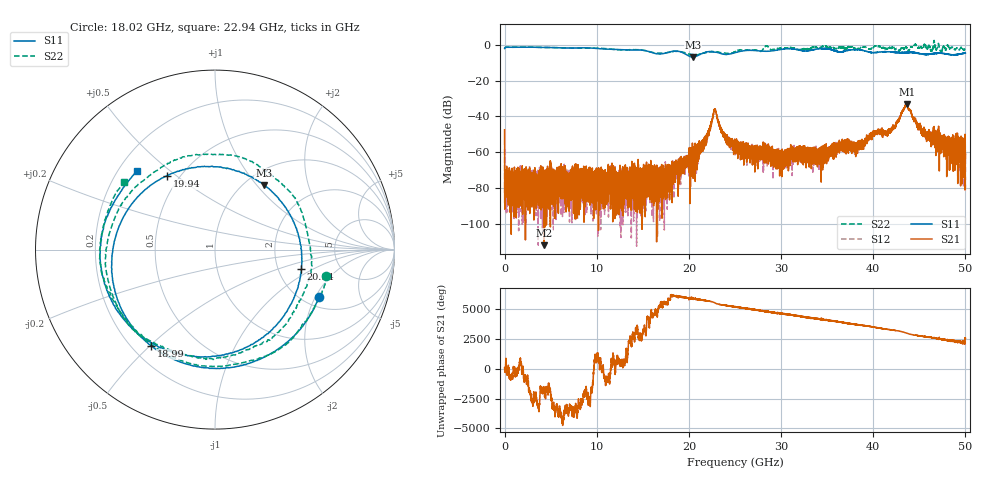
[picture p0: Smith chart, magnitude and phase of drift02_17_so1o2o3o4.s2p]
!Created with skrf (http://scikit-rf.org).
# Hz S RI R 50.0
!freq ReS11 ImS11 ReS21 ImS21 ReS12 ImS12 ReS22 ImS22
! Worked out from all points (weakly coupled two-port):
!   10001 points, 300 kHz to 50 GHz, reference 50 ohm
!   highest |S21| = -33.10 dB at 43.64 GHz (marker M1); lowest = -111.9 dB at 4.26 GHz (marker M2)
!   lowest |S11| = -6.9 dB at 20.44 GHz (marker M3), VSWR 2.64, Z = 60.3 + j54.4 ohm
!   |S11| at or under -10 dB: nowhere
!   |S22| runs from -5.7 to 2.3 dB; largest |S21 - S12| = 0.005
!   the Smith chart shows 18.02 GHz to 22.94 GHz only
!   S11 on the Smith chart (normalised r, x): 18.02 GHz: 2.41, -2.14; 18.99 GHz: 0.28, -0.50; 19.94 GHz: 0.43, +0.46; 20.94 GHz: 2.69, -0.78; 22.94 GHz: 0.28, +0.39
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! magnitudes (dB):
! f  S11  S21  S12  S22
! 300 kHz  -2.1  -47.4  -58.2  -2.0
! 255.3 MHz  -1.4  -74.7  -77.2  -1.4
! 4.26 GHz  -1.6  -111.9  -76.3  -1.6
! 8.335 GHz  -1.7  -77.2  -76.4  -1.9
! 16.67 GHz  -5.2  -75.6  -87.7  -4.7
! 18.02 GHz  -3.9  -70.5  -74.2  -3.9
! 18.99 GHz  -3.8  -67.2  -75.0  -3.9
! 19.94 GHz  -6.2  -65.7  -65.7  -5.2
! 20.44 GHz  -6.9  -66.7  -65.9  -5.5
! 20.94 GHz  -6.1  -58.4  -60.4  -5.6
! 22.71 GHz  -4.1  -37.4  -37.4  -3.9
! 22.94 GHz  -4.2  -37.3  -37.9  -4.0
! 23.72 GHz  -5.3  -49.4  -49.7  -4.7
! 25 GHz  -4.5  -55.3  -55.5  -3.9
! 29.86 GHz  -2.8  -72.1  -64.7  -2.0
! 33.34 GHz  -3.0  -62.2  -59.2  -1.5
! 38.07 GHz  -2.8  -58.0  -58.3  -2.3
! 40.15 GHz  -4.4  -48.5  -50.0  -0.8
! 41.67 GHz  -4.0  -47.6  -48.1  -1.9
! 43.64 GHz  -4.5  -33.1  -33.6  -1.7
! 45.71 GHz  -5.4  -50.9  -50.5  -1.0
! 50 GHz  -4.7  -63.3  -58.5  -2.6
